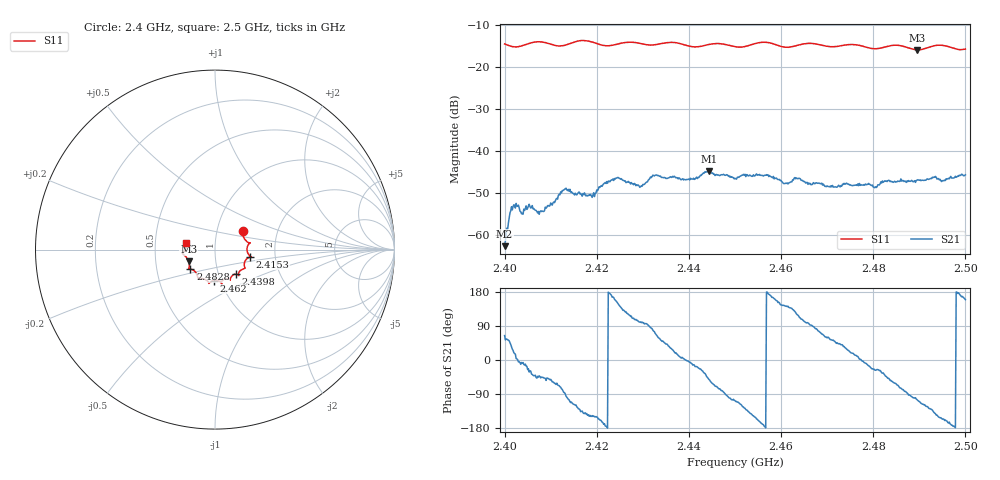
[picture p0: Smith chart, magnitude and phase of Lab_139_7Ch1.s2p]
# Hz S RI R 50
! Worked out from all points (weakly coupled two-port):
!   601 points, 2.4 GHz to 2.5 GHz, reference 50 ohm
!   highest |S21| = -44.79 dB at 2.4443 GHz (marker M1); lowest = -62.7 dB at 2.4 GHz (marker M2)
!   lowest |S11| = -15.9 dB at 2.4895 GHz (marker M3), VSWR 1.38, Z = 37 - j5.01 ohm
!   |S11| at or under -10 dB: start of sweep to end of sweep
!   S12 and S22 are empty: the file has one direction only
!   S11 on the Smith chart (normalised r, x): 2.4 GHz: 1.33, +0.29; 2.4153 GHz: 1.48, -0.12; 2.4398 GHz: 1.21, -0.34; 2.462 GHz: 0.93, -0.33; 2.4828 GHz: 0.74, -0.17; 2.5 GHz: 0.72, +0.06
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2.4e9  0.1554 0.1064  0.000318 0.000663  0 0  0 0
2.401e9  0.1549 0.091  0.00103 0.00124  0 0  0 0
2.402e9  0.1576 0.0741  0.00216 0.000759  0 0  0 0
2.408e9  0.1957 0.0375  0.00135 -0.00134  0 0  0 0
2.413e9  0.1807 -0.0145  0.000239 -0.00347  0 0  0 0
2.415333e9  0.1965 -0.0386  -0.00151 -0.00275  0 0  0 0
2.416667e9  0.2025 -0.0427  -0.00216 -0.00211  0 0  0 0
2.419333e9  0.1914 -0.0428  -0.00269 -0.00171  0 0  0 0
2.424333e9  0.1632 -0.0905  -0.00427 0.00211  0 0  0 0
2.429333e9  0.1593 -0.1066  -0.000626 0.00364  0 0  0 0
2.433333e9  0.1309 -0.1339  0.00262 0.00439  0 0  0 0
2.439833e9  0.1154 -0.1362  0.0046 -0.000203  0 0  0 0
2.444333e9  0.0848 -0.1653  0.0036 -0.00449  0 0  0 0
2.45e9  0.0653 -0.1624  -0.0014 -0.00452  0 0  0 0
2.457e9  0.0392 -0.1923  -0.00514 7.68e-05  0 0  0 0
2.462e9  -0.00494 -0.173  -0.00315 0.00286  0 0  0 0
2.466667e9  -0.0341 -0.188  -0.000105 0.00399  0 0  0 0
2.480333e9  -0.1127 -0.1206  0.00327 -0.00163  0 0  0 0
2.482833e9  -0.1365 -0.109  0.0032 -0.00302  0 0  0 0
2.483333e9  -0.1404 -0.1089  0.00299 -0.00334  0 0  0 0
2.4895e9  -0.1458 -0.0659  -0.00113 -0.00434  0 0  0 0
2.5e9  -0.1593 0.039  -0.00486 0.00184  0 0  0 0
